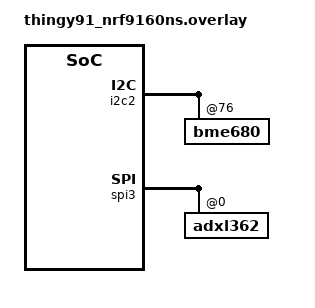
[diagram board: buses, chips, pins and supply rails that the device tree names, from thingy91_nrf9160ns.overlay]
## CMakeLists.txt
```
#
# Copyright (c) 2021 Nordic Semiconductor ASA
#
# SPDX-License-Identifier: LicenseRef-Nordic-5-Clause
#

cmake_minimum_required(VERSION 3.20.0)

find_package(Zephyr REQUIRED HINTS $ENV{ZEPHYR_BASE})
project(asset_tracker_v2)

# NORDIC SDK APP START
target_sources(app PRIVATE src/main.c)
# NORDIC SDK APP END

# Include source directory
target_include_directories(app PRIVATE src)
target_include_directories(app PRIVATE include/${BOARD}/)
zephyr_include_directories_ifdef(CONFIG_MEMFAULT configuration/memfault)

# Application directories
add_subdirectory(src/modules)
add_subdirectory(src/messages)

add_subdirectory_ifdef(CONFIG_SENSOR_MODULE src/ext_sensors)
add_subdirectory_ifdef(CONFIG_WATCHDOG_APPLICATION src/watchdog)

# Include nRF modem library header file for QEMU x86 builds.
# These are used throughout the application in type definitions.
if (CONFIG_BOARD_QEMU_X86)
        target_include_directories(app PRIVATE ${NRFXLIB_DIR}/nrf_modem/include/)

        # Make folder containing certificates global so that it can be located by the configured
        # cloud library.
        zephyr_include_directories(src/cloud-certs)
endif()
```

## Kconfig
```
#
# Copyright (c) 2021 Nordic Semiconductor ASA
#
# SPDX-License-Identifier: LicenseRef-Nordic-5-Clause
#

# Asset Tracker v2 requires UART_INTERRUPT_DRIVEN to be enabled when SERIAL is used in order to
# receive AT Commands.
config UART_INTERRUPT_DRIVEN
	default y if SERIAL

# Asset Tracker v2 requires the default logging mode as LOG_MODE_IMMEDIATE because
# a) LOG_MODE_DEFERRED does not print floating point numbers.
#	 See : https://github.com/zephyrproject-rtos/zephyr/issues/18351
# b) Using LOG2_MODE_DEFERRED results in missing logs in certain situations. Ref: NCSIDB-630
choice LOG_MODE
	default LOG_MODE_IMMEDIATE
endchoice

menu "Asset Tracker v2"

config ASSET_TRACKER_V2_APP_VERSION
	string "Asset Tracker application firmware version"
	default "0.0.0-development"

config ASSET_TRACKER_V2_APP_VERSION_MAX_LEN
	int "Maximum length of the application firmware version"
	default 150

rsource "src/modules/Kconfig"
rsource "src/watchdog/Kconfig"

endmenu

menu "Zephyr Kernel"
source "Kconfig.zephyr"
endmenu

module = APPLICATION_MODULE
module-str = Application module
source "subsys/logging/Kconfig.template.log_config"
```

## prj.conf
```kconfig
#
# Copyright (c) 2021 Nordic Semiconductor ASA
#
# SPDX-License-Identifier: LicenseRef-Nordic-5-Clause
#

# General config
CONFIG_PICOLIBC=y
CONFIG_ASSERT=y
CONFIG_REBOOT=y
CONFIG_FPU=y

# Heap and stacks
CONFIG_HEAP_MEM_POOL_SIZE=47250
CONFIG_MAIN_STACK_SIZE=2048
CONFIG_SYSTEM_WORKQUEUE_STACK_SIZE=4096
CONFIG_HW_STACK_PROTECTION=y
# Increase AT monitor heap size to be able to fit both neighbor cell measurement
# and other AT notifications that may come in rapid succession.
CONFIG_AT_MONITOR_HEAP_SIZE=1024

# Logging
CONFIG_LOG=y
CONFIG_LOG_MODE_DEFERRED=y

# nRF modem library
CONFIG_NRF_MODEM_LIB=y
CONFIG_NRF_MODEM_LIB_ON_FAULT_APPLICATION_SPECIFIC=y

# AT Host library - Used to send AT commands directy from an UART terminal and to allow
#		    integration with nRF Connect for Desktop LTE Link monitor application.
CONFIG_AT_HOST_LIBRARY=y

# Network
CONFIG_NETWORKING=y
CONFIG_NET_NATIVE=n
CONFIG_NET_SOCKETS=y
CONFIG_NET_SOCKETS_OFFLOAD=y
CONFIG_NET_IPV6=y
CONFIG_NET_IPV4=y

# LTE link control
CONFIG_LTE_NETWORK_MODE_LTE_M_GPS=y
## Power saving timers.
### 320 hours PSM.
CONFIG_LTE_PSM_REQ=y
CONFIG_LTE_PSM_REQ_RPTAU="11000001"
### 20 seconds active time.
CONFIG_LTE_PSM_REQ_RAT="00001010"

# Settings - Used to store real-time device configuration to flash.
CONFIG_SETTINGS=y
CONFIG_SETTINGS_FCB=y
CONFIG_FCB=y

# FOTA
CONFIG_FOTA_DOWNLOAD=y
CONFIG_DFU_TARGET=y
CONFIG_DOWNLOAD_CLIENT=y
CONFIG_DOWNLOAD_CLIENT_HTTP_FRAG_SIZE_1024=y
CONFIG_DOWNLOAD_CLIENT_STACK_SIZE=4096
CONFIG_DOWNLOAD_CLIENT_BUF_SIZE=2300
CONFIG_DOWNLOAD_CLIENT_MAX_HOSTNAME_SIZE=128

# Flash - Used in FOTA, settings and storage for P-GPS.
CONFIG_FLASH=y
CONFIG_FLASH_PAGE_LAYOUT=y
CONFIG_FLASH_MAP=y
CONFIG_STREAM_FLASH=y
CONFIG_MPU_ALLOW_FLASH_WRITE=y

# MCUBOOT
CONFIG_BOOTLOADER_MCUBOOT=y
CONFIG_IMG_MANAGER=y
CONFIG_MCUBOOT_IMG_MANAGER=y
CONFIG_IMG_ERASE_PROGRESSIVELY=y
CONFIG_SECURE_BOOT=y
CONFIG_BUILD_S1_VARIANT=y

# Watchdog
CONFIG_WATCHDOG_APPLICATION=y

# Application Event Manager
CONFIG_APP_EVENT_MANAGER=y
CONFIG_APP_EVENT_MANAGER_LOG_EVENT_TYPE=n

# cJSON - Used in cloud data encoding.
CONFIG_CJSON_LIB=y

# CAF - Common Application Framework
CONFIG_CAF=y
CONFIG_LED=y
CONFIG_CAF_LEDS=y
CONFIG_CAF_INIT_LOG_LED_READY_EVENTS=n
CONFIG_CAF_INIT_LOG_LED_EVENTS=n
CONFIG_CAF_INIT_LOG_MODULE_STATE_EVENTS=n

# Location related configuration
CONFIG_LOCATION=y
CONFIG_LOCATION_REQUEST_DEFAULT_METHOD_FIRST_GNSS=y
CONFIG_LOCATION_REQUEST_DEFAULT_METHOD_SECOND_CELLULAR=y
CONFIG_LOCATION_REQUEST_DEFAULT_GNSS_TIMEOUT=90000
CONFIG_LOCATION_DATA_DETAILS=y
CONFIG_LOCATION_LOG_LEVEL_WRN=y

# Default cloud transport service
CONFIG_NRF_CLOUD_MQTT=y
CONFIG_HW_ID_LIBRARY=y
CONFIG_HW_ID_LIBRARY_SOURCE_IMEI=y

CONFIG_RESET_ON_FATAL_ERROR=n
CONFIG_LOG_MODE_IMMEDIATE=y
CONFIG_ETB_TRACE=y
```

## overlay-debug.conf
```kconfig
#
# Copyright (c) 2021 Nordic Semiconductor ASA
#
# SPDX-License-Identifier: LicenseRef-Nordic-5-Clause
#

# Forces a maximal log level for all modules.
# Modules saturates their specified level if it is greater than this option,
# otherwise they use the level specified by this option instead of their default
# or whatever was manually set. Levels are:
#
# 0 OFF, logging is turned off
# 1 ERROR, maximal level set to LOG_LEVEL_ERR
# 2 WARNING, maximal level set to LOG_LEVEL_WRN
# 3 INFO, maximal level set to LOG_LEVEL_INFO
# 4 DEBUG, maximal level set to LOG_LEVEL_DBG
CONFIG_LOG_MAX_LEVEL=4

# Increase log buffer size to prevent logs being dropped.
CONFIG_LOG_BUFFER_SIZE=2048

# Module debug configurations.
CONFIG_MODULE_COMMON_LOG_LEVEL_DBG=y
CONFIG_APPLICATION_MODULE_LOG_LEVEL_DBG=y
CONFIG_CLOUD_MODULE_LOG_LEVEL_DBG=y
CONFIG_DATA_MODULE_LOG_LEVEL_DBG=y
CONFIG_LOCATION_MODULE_LOG_LEVEL_DBG=y
CONFIG_MODEM_MODULE_LOG_LEVEL_DBG=y
CONFIG_SENSOR_MODULE_LOG_LEVEL_DBG=y
CONFIG_UI_MODULE_LOG_LEVEL_DBG=y
CONFIG_UTIL_MODULE_LOG_LEVEL_DBG=y
CONFIG_DEBUG_MODULE_LOG_LEVEL_DBG=y

# Cloud integration layer debug logging
CONFIG_CLOUD_INTEGRATION_LOG_LEVEL_DBG=y

# Application Watchdog debug logging
CONFIG_WATCHDOG_LOG_LEVEL_DBG=y

# Cloud codec debug logging
CONFIG_CLOUD_CODEC_LOG_LEVEL_DBG=y

# Location library
CONFIG_LOCATION_LOG_LEVEL_DBG=y

# nRF Cloud
CONFIG_NRF_CLOUD_LOG_LEVEL_DBG=y

# Date time
CONFIG_DATE_TIME_LOG_LEVEL_DBG=y

# Settings
CONFIG_SETTINGS_LOG_LEVEL_DBG=y

# Flash
CONFIG_STREAM_FLASH_LOG_LEVEL_DBG=y

# Debug module
CONFIG_DEBUG_MODULE=y

# QoS library
CONFIG_QOS_LOG_LEVEL_DBG=y

CONFIG_RESET_ON_FATAL_ERROR=n
```

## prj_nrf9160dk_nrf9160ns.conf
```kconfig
#
# Copyright (c) 2021 Nordic Semiconductor ASA
#
# SPDX-License-Identifier: LicenseRef-BSD-5-Clause-Nordic
#

# General config
CONFIG_NEWLIB_LIBC=y
CONFIG_NEWLIB_LIBC_FLOAT_PRINTF=y
CONFIG_ASSERT=y
CONFIG_REBOOT=y
CONFIG_RESET_ON_FATAL_ERROR=n

# Heap and stacks
CONFIG_HEAP_MEM_POOL_SIZE=32768
CONFIG_MAIN_STACK_SIZE=1024
CONFIG_SYSTEM_WORKQUEUE_STACK_SIZE=2048
CONFIG_HW_STACK_PROTECTION=y

# Logging
CONFIG_LOG=y
CONFIG_LOG_IMMEDIATE=y

# DK - Used for buttons and LEDs in UI module.
CONFIG_DK_LIBRARY_INVERT_LEDS=n

# BSD library
CONFIG_BSD_LIBRARY=y

# Network
CONFIG_NETWORKING=y
CONFIG_NET_NATIVE=n
CONFIG_NET_SOCKETS=y
CONFIG_NET_SOCKETS_OFFLOAD=y

# LTE link control
CONFIG_LTE_AUTO_INIT_AND_CONNECT=n
CONFIG_LTE_NETWORK_MODE_LTE_M_GPS=y
## Power saving timers.
CONFIG_LTE_PSM_REQ_RPTAU="01000011"
CONFIG_LTE_PSM_REQ_RAT="00000000"

# AWS IoT
## Mandatory application specific configurations for AWS_IOT.
CONFIG_AWS_IOT=y
CONFIG_AWS_IOT_TOPIC_UPDATE_DELTA_SUBSCRIBE=y
CONFIG_AWS_IOT_AUTO_DEVICE_SHADOW_REQUEST=y
CONFIG_AWS_IOT_MQTT_RX_TX_BUFFER_LEN=2048
CONFIG_AWS_IOT_MQTT_PAYLOAD_BUFFER_LEN=2048
CONFIG_AWS_IOT_APP_SUBSCRIPTION_LIST_COUNT=1
CONFIG_AWS_IOT_CLIENT_ID_APP=y
CONFIG_AWS_FOTA=y

## AWS IoT options that must be configured.
CONFIG_AWS_IOT_SEC_TAG=42
CONFIG_AWS_IOT_BROKER_HOST_NAME="example-hostname.aws.com"

# MQTT
# Keepalive should be set to the maximum specified MQTT keepalive timeout of the
#        selected cloud library.
#        1200 seconds for AWS IoT.
CONFIG_MQTT_KEEPALIVE=1200

# Settings - Used to store real-time device configuration to flash.
CONFIG_SETTINGS=y
CONFIG_SETTINGS_FCB=y
CONFIG_FCB=y

# FOTA - Needed by AWS IoT.
CONFIG_FOTA_DOWNLOAD=y
CONFIG_DFU_TARGET=y
CONFIG_DOWNLOAD_CLIENT=y
CONFIG_DOWNLOAD_CLIENT_HTTP_FRAG_SIZE_1024=y
CONFIG_DOWNLOAD_CLIENT_STACK_SIZE=4096
CONFIG_DOWNLOAD_CLIENT_BUF_SIZE=2300

# Flash - Used in FOTA and Settings.
CONFIG_FLASH=y
CONFIG_FLASH_PAGE_LAYOUT=y
CONFIG_FLASH_MAP=y
CONFIG_MPU_ALLOW_FLASH_WRITE=y

# MCUBOOT
CONFIG_BOOTLOADER_MCUBOOT=y
CONFIG_IMG_MANAGER=y
CONFIG_MCUBOOT_IMG_MANAGER=y
CONFIG_IMG_ERASE_PROGRESSIVELY=y

# Watchdog
CONFIG_WATCHDOG_APPLICATION=y

# AGPS
# To use AGPS, a source of assistance data must be selected. By default, SUPL
# is selected. However, due to licensing, the SUPL library must be manually
# downloaded and configured according to the instructions found in the SUPL
# client library documentation in NCS.
# CONFIG_AGPS=y
# CONFIG_AGPS_SRC_SUPL=y

# Event Manager
CONFIG_EVENT_MANAGER=y
CONFIG_LINKER_ORPHAN_SECTION_PLACE=y
CONFIG_DESKTOP_EVENT_MANAGER_LOG_EVENT_TYPE=n

# cJSON - Used in AWS FOTA and cloud data traffic encoding.
CONFIG_CJSON_LIB=y

# Ringbuffers - Used by cloud codec.
CONFIG_RING_BUFFER=y
```

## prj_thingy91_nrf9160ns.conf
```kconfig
#
# Copyright (c) 2021 Nordic Semiconductor ASA
#
# SPDX-License-Identifier: LicenseRef-BSD-5-Clause-Nordic
#

# General config
CONFIG_NEWLIB_LIBC=y
CONFIG_NEWLIB_LIBC_FLOAT_PRINTF=y
CONFIG_ASSERT=y
CONFIG_REBOOT=y
CONFIG_RESET_ON_FATAL_ERROR=n

# Heap and stacks
CONFIG_HEAP_MEM_POOL_SIZE=32768
CONFIG_MAIN_STACK_SIZE=1024
CONFIG_SYSTEM_WORKQUEUE_STACK_SIZE=2048
CONFIG_HW_STACK_PROTECTION=y

# Logging
CONFIG_LOG=y
CONFIG_LOG_IMMEDIATE=y

# DK - Used for buttons and LEDs in UI module.
CONFIG_DK_LIBRARY_INVERT_LEDS=n

# BSD library
CONFIG_BSD_LIBRARY=y

# Network
CONFIG_NETWORKING=y
CONFIG_NET_NATIVE=n
CONFIG_NET_SOCKETS=y
CONFIG_NET_SOCKETS_OFFLOAD=y

# LTE link control
CONFIG_LTE_AUTO_INIT_AND_CONNECT=n
CONFIG_LTE_NETWORK_MODE_LTE_M_GPS=y
## Power saving timers.
CONFIG_LTE_PSM_REQ_RPTAU="01000011"
CONFIG_LTE_PSM_REQ_RAT="00000000"

# AWS IoT
## Mandatory application specific configurations for AWS_IOT.
CONFIG_AWS_IOT=y
CONFIG_AWS_IOT_TOPIC_UPDATE_DELTA_SUBSCRIBE=y
CONFIG_AWS_IOT_AUTO_DEVICE_SHADOW_REQUEST=y
CONFIG_AWS_IOT_MQTT_RX_TX_BUFFER_LEN=2048
CONFIG_AWS_IOT_MQTT_PAYLOAD_BUFFER_LEN=2048
CONFIG_AWS_IOT_APP_SUBSCRIPTION_LIST_COUNT=1
CONFIG_AWS_IOT_CLIENT_ID_APP=y
CONFIG_AWS_FOTA=y

## AWS IoT options that must be configured.
CONFIG_AWS_IOT_SEC_TAG=42
CONFIG_AWS_IOT_BROKER_HOST_NAME="example-hostname.aws.com"

# MQTT
# Keepalive should be set to the maximum specified MQTT keepalive timeout of the
#        selected cloud library.
#        1200 seconds for AWS IoT.
CONFIG_MQTT_KEEPALIVE=1200

# Settings - Used to store real-time device configuration to flash.
CONFIG_SETTINGS=y
CONFIG_SETTINGS_FCB=y
CONFIG_FCB=y

# FOTA - Needed by AWS IoT.
CONFIG_FOTA_DOWNLOAD=y
CONFIG_DFU_TARGET=y
CONFIG_DOWNLOAD_CLIENT=y
CONFIG_DOWNLOAD_CLIENT_HTTP_FRAG_SIZE_1024=y
CONFIG_DOWNLOAD_CLIENT_STACK_SIZE=4096
CONFIG_DOWNLOAD_CLIENT_BUF_SIZE=2300

# Flash - Used in FOTA and Settings.
CONFIG_FLASH=y
CONFIG_FLASH_PAGE_LAYOUT=y
CONFIG_FLASH_MAP=y
CONFIG_MPU_ALLOW_FLASH_WRITE=y

# MCUBOOT
CONFIG_BOOTLOADER_MCUBOOT=y
CONFIG_IMG_MANAGER=y
CONFIG_MCUBOOT_IMG_MANAGER=y
CONFIG_IMG_ERASE_PROGRESSIVELY=y

# Watchdog
CONFIG_WATCHDOG_APPLICATION=y

# AGPS
# To use AGPS, a source of assistance data must be selected. By default, SUPL
# is selected. However, due to licensing, the SUPL library must be manually
# downloaded and configured according to the instructions found in the SUPL
# client library documentation in NCS.
# CONFIG_AGPS=y
# CONFIG_AGPS_SRC_SUPL=y

# Event Manager
CONFIG_EVENT_MANAGER=y
CONFIG_LINKER_ORPHAN_SECTION_PLACE=y
CONFIG_DESKTOP_EVENT_MANAGER_LOG_EVENT_TYPE=n

# cJSON - Used in AWS FOTA and cloud data traffic encoding.
CONFIG_CJSON_LIB=y

# Ringbuffers - Used by cloud codec.
CONFIG_RING_BUFFER=y

# Thingy91 - Configuration related to external sensors.
CONFIG_SENSOR=y
CONFIG_SPI=y

# ADXL362 - Accelerometer
CONFIG_ADXL362=y
CONFIG_ADXL362_TRIGGER_GLOBAL_THREAD=y
CONFIG_ADXL362_INTERRUPT_MODE=1
CONFIG_ADXL362_ABS_REF_MODE=1
CONFIG_ADXL362_ACCEL_RANGE_2G=y
CONFIG_ADXL362_ACCEL_ODR_12_5=y

# BME680 - Temperature and humidity sensor.
CONFIG_BME680=y
```

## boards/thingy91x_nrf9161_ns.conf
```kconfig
#
# Copyright (c) 2023 Nordic Semiconductor ASA
#
# SPDX-License-Identifier: LicenseRef-Nordic-5-Clause
#

# Configuration file for Thingy:91 X.
# This file is merged with prj.conf in the application folder, and options
# set here will take precedence if they are present in both files.

# Configuration related to external sensors.
CONFIG_EXTERNAL_SENSORS=y
CONFIG_SENSOR=y
CONFIG_SPI=y

# BME680 - Temperature and humidity sensor.
CONFIG_BME680=y

# CAF - Common Application Framework
CONFIG_PWM=y
CONFIG_LED_GPIO=y

CONFIG_PM_PARTITION_REGION_SETTINGS_STORAGE_EXTERNAL=y
```

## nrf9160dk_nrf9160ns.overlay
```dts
&spi3 {
	status = "okay";
	sck-pin = <10>;
	mosi-pin = <11>;
	miso-pin = <12>;
	cs-gpios = <&gpio0 30 0>, <&gpio0 7 0>;

	adxl362@0 {
		compatible = "adi,adxl362";
		label = "ADXL362";
		spi-max-frequency = <8000000>;
		reg = <0>;
		int1-gpios = <&gpio0 31 0>;
	};
};
```

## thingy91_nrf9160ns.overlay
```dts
/*
 * Copyright (c) 2021 Nordic Semiconductor ASA
 *
 * SPDX-License-Identifier: LicenseRef-Nordic-5-Clause
 */

/ {
        aliases {
                temp-sensor = &bme680;
                humidity-sensor = &bme680;
                accelerometer = &adxl362;
        };
};

&i2c2 {
	bme680: bme680@76 {};
};

&spi3 {
       adxl362: adxl362@0 {};
};
```

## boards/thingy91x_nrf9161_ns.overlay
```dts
/*
 * Copyright (c) 2023 Nordic Semiconductor ASA
 *
 * SPDX-License-Identifier: LicenseRef-Nordic-5-Clause
 */

/ {
	aliases {
		temp-sensor = &bme680;
		humidity-sensor = &bme680;
		pressure-sensor = &bme680;
	};
};

&i2c2 {
	bme680: bme680@76 {};
};
```

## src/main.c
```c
/*
 * Copyright (c) 2021 Nordic Semiconductor ASA
 *
 * SPDX-License-Identifier: LicenseRef-Nordic-5-Clause
 */

#include <zephyr/kernel.h>
#include <stdio.h>
#include <string.h>
#include <stdlib.h>

#if defined(CONFIG_NRF_MODEM_LIB)
#include <modem/nrf_modem_lib.h>
#endif /* CONFIG_NRF_MODEM_LIB */
#include <zephyr/sys/reboot.h>
#if defined(CONFIG_LWM2M_INTEGRATION)
#include <net/lwm2m_client_utils.h>
#endif /* CONFIG_LWM2M_INTEGRATION */
#include <net/nrf_cloud.h>

#if defined(CONFIG_NRF_CLOUD_AGPS) || defined(CONFIG_NRF_CLOUD_PGPS)
#include <net/nrf_cloud_agps.h>
#endif

#include "modules/module_common.h"

#include <zephyr/logging/log.h>
#include <zephyr/logging/log_ctrl.h>

LOG_MODULE_REGISTER(MODULE, CONFIG_APPLICATION_MODULE_LOG_LEVEL);

/* Application module super states. */
static enum state_type {
	STATE_INIT,
	STATE_RUNNING,
	STATE_SHUTDOWN
} state;

/* Application sub states. The application can be in either active or passive
 * mode.
 *
 * Active mode: Sensor data and GNSS position is acquired at a configured
 *		interval and sent to cloud.
 *
 * Passive mode: Sensor data and GNSS position is acquired when movement is
 *		 detected, or after the configured movement timeout occurs.
 */
static enum sub_state_type {
	SUB_STATE_ACTIVE_MODE,
	SUB_STATE_PASSIVE_MODE,
} sub_state;

/* Internal copy of the device configuration. */
static struct cloud_data_cfg app_cfg;

/* Variable that keeps track whether modem static data has been successfully sampled by the
 * modem module. Modem static data does not change and only needs to be sampled and sent to cloud
 * once.
 */
static bool modem_static_sampled;

/* Variable that is set high whenever a sample request is ongoing. */
static bool sample_request_ongoing;

/* Variable that is set high whenever the device is considered active (under movement). */
static bool activity;

/* Timer callback used to signal when timeout has occurred both in active
 * and passive mode.
 */
static void data_sample_timer_handler(struct k_timer *timer);

/* Application module message queue. */
#define APP_QUEUE_ENTRY_COUNT		10
#define APP_QUEUE_BYTE_ALIGNMENT	4

/* Data fetching timeouts */
#define DATA_FETCH_TIMEOUT_DEFAULT 2


K_MSGQ_DEFINE(msgq_app, sizeof(struct module_msg), APP_QUEUE_ENTRY_COUNT,
	      APP_QUEUE_BYTE_ALIGNMENT);

/* Data sample timer used in active mode. */
K_TIMER_DEFINE(data_sample_timer, data_sample_timer_handler, NULL);

/* Movement timer used to detect movement timeouts in passive mode. */
K_TIMER_DEFINE(movement_timeout_timer, data_sample_timer_handler, NULL);

/* Movement resolution timer decides the period after movement that consecutive
 * movements are ignored and do not cause data collection. This is used to
 * lower power consumption by limiting how often GNSS search is performed and
 * data is sent on air.
 */
K_TIMER_DEFINE(movement_resolution_timer, NULL, NULL);

/* Module data structure to hold information of the application module, which
 * opens up for using convenience functions available for modules.
 */
static struct module_data self = {
	.name = "app",
	.msg_q = &msgq_app,
	.supports_shutdown = true,
};
/* Workaround to let other modules know about this module without changing code here. */
struct module_data *app_module = &self;

/* Zbus listeners for all relevant channels */
CHANNEL_LISTENER_TO_QUEUE(CLOUD_MSG_CHAN, cloud_listener);
CHANNEL_LISTENER_TO_QUEUE(DATA_MSG_CHAN, data_listener);
CHANNEL_LISTENER_TO_QUEUE(MODEM_MSG_CHAN, modem_listener);
CHANNEL_LISTENER_TO_QUEUE(SENSOR_MSG_CHAN, sensor_listener);
CHANNEL_LISTENER_TO_QUEUE(UTIL_MSG_CHAN, util_listener);


#if defined(CONFIG_NRF_MODEM_LIB)
NRF_MODEM_LIB_ON_INIT(asset_tracker_init_hook, on_modem_lib_init, NULL);

/* Initialized to value different than success (0) */
static int modem_lib_init_result = -1;

static void on_modem_lib_init(int ret, void *ctx)
{
	modem_lib_init_result = ret;
}
#endif /* CONFIG_NRF_MODEM_LIB */

/* Convenience functions used in internal state handling. */
static char *state2str(enum state_type new_state)
{
	switch (new_state) {
	case STATE_INIT:
		return "STATE_INIT";
	case STATE_RUNNING:
		return "STATE_RUNNING";
	case STATE_SHUTDOWN:
		return "STATE_SHUTDOWN";
	default:
		return "Unknown";
	}
}

static char *sub_state2str(enum sub_state_type new_state)
{
	switch (new_state) {
	case SUB_STATE_ACTIVE_MODE:
		return "SUB_STATE_ACTIVE_MODE";
	case SUB_STATE_PASSIVE_MODE:
		return "SUB_STATE_PASSIVE_MODE";
	default:
		return "Unknown";
	}
}

static void state_set(enum state_type new_state)
{
	if (new_state == state) {
		LOG_DBG("State: %s", state2str(state));
		return;
	}

	LOG_DBG("State transition %s --> %s",
		state2str(state),
		state2str(new_state));

	state = new_state;
}

static void sub_state_set(enum sub_state_type new_state)
{
	if (new_state == sub_state) {
		LOG_DBG("Sub state: %s", sub_state2str(sub_state));
		return;
	}

	LOG_DBG("Sub state transition %s --> %s",
		sub_state2str(sub_state),
		sub_state2str(new_state));

	sub_state = new_state;
}

/* Check the return code from nRF modem library initialization to ensure that
 * the modem is rebooted if a modem firmware update is ready to be applied or
 * an error condition occurred during firmware update or library initialization.
 */
static void handle_nrf_modem_lib_init_ret(void)
{
#if defined(CONFIG_NRF_MODEM_LIB)
	int ret = modem_lib_init_result;

	/* Handle return values relating to modem firmware update */
	switch (ret) {
	case 0:
		/* Initialization successful, no action required. */
		return;
	case MODEM_DFU_RESULT_OK:
		LOG_DBG("MODEM UPDATE OK. Will run new modem firmware after reboot");
		break;
	case MODEM_DFU_RESULT_UUID_ERROR:
	case MODEM_DFU_RESULT_AUTH_ERROR:
		LOG_ERR("MODEM UPDATE ERROR %d. Will run old firmware", ret);
		break;
	case MODEM_DFU_RESULT_HARDWARE_ERROR:
	case MODEM_DFU_RESULT_INTERNAL_ERROR:
		LOG_ERR("MODEM UPDATE FATAL ERROR %d. Modem failure", ret);
		break;
	default:
		/* All non-zero return codes other than DFU result codes are
		 * considered irrecoverable and a reboot is needed.
		 */
		LOG_ERR("nRF modem lib initialization failed, error: %d", ret);
		break;
	}

#if defined(CONFIG_NRF_CLOUD_FOTA)
	/* Ignore return value, rebooting below */
	(void)nrf_cloud_fota_pending_job_validate(NULL);
#elif defined(CONFIG_LWM2M_INTEGRATION)
	lwm2m_verify_modem_fw_update();
#endif
	LOG_DBG("Rebooting...");
	LOG_PANIC();
	sys_reboot(SYS_REBOOT_COLD);
#endif /* CONFIG_NRF_MODEM_LIB */
}

static void data_sample_timer_handler(struct k_timer *timer)
{
	ARG_UNUSED(timer);

	/* Cancel if a previous sample request has not completed or the device is not under
	 * activity in passive mode.
	 */
	if (sample_request_ongoing || ((sub_state == SUB_STATE_PASSIVE_MODE) && !activity)) {
		return;
	}

	SEND_MSG_ALL(APP_MSG_DATA_GET_ALL);
}

/* Static module functions. */
static void passive_mode_timers_start_all(void)
{
	LOG_DBG("Device mode: Passive");
	LOG_DBG("Start movement timeout: %d seconds interval", app_cfg.movement_timeout);

	LOG_DBG("%d seconds until movement can trigger a new data sample/publication",
		app_cfg.movement_resolution);

	k_timer_start(&data_sample_timer,
		      K_SECONDS(app_cfg.movement_resolution),
		      K_SECONDS(app_cfg.movement_resolution));

	k_timer_start(&movement_resolution_timer,
		      K_SECONDS(app_cfg.movement_resolution),
		      K_SECONDS(0));

	k_timer_start(&movement_timeout_timer,
		      K_SECONDS(app_cfg.movement_timeout),
		      K_SECONDS(app_cfg.movement_timeout));
}

static void active_mode_timers_start_all(void)
{
	LOG_DBG("Device mode: Active");
	LOG_DBG("Start data sample timer: %d seconds interval", app_cfg.active_wait_timeout);

	k_timer_start(&data_sample_timer,
		      K_SECONDS(app_cfg.active_wait_timeout),
		      K_SECONDS(app_cfg.active_wait_timeout));

	k_timer_stop(&movement_resolution_timer);
	k_timer_stop(&movement_timeout_timer);
}

static void activity_event_handle(enum module_msg_type msg_type)
{
	__ASSERT(((msg_type == SENSOR_MSG_MOVEMENT_ACTIVITY_DETECTED) ||
		  (msg_type == SENSOR_MSG_MOVEMENT_INACTIVITY_DETECTED)),
		  "Unknown event");

	activity = (msg_type == SENSOR_MSG_MOVEMENT_ACTIVITY_DETECTED) ? true : false;

	if (sample_request_ongoing) {
		LOG_DBG("Sample request ongoing, abort request.");
		return;
	}

	if ((msg_type == SENSOR_MSG_MOVEMENT_ACTIVITY_DETECTED) &&
	    (k_timer_remaining_get(&movement_resolution_timer) != 0)) {
		LOG_DBG("Movement resolution timer has not expired, abort request.");
		return;
	}

	SEND_MSG_ALL(APP_MSG_DATA_GET_ALL);
	passive_mode_timers_start_all();
}

static void data_get(void)
{
	int err;
	size_t count = 0;
	struct module_msg msg = {
		.type = APP_MSG_DATA_GET,
	};

	/* Set a low sample timeout. If location is requested, the sample timeout
	 * will be increased to accommodate the location request.
	 */
	msg.app.timeout = DATA_FETCH_TIMEOUT_DEFAULT;

	/* Specify which data that is to be included in the transmission. */
	msg.app.data_list[count++] = APP_DATA_MODEM_DYNAMIC;
	msg.app.data_list[count++] = APP_DATA_BATTERY;
	msg.app.data_list[count++] = APP_DATA_ENVIRONMENTAL;

	if (!modem_static_sampled) {
		msg.app.data_list[count++] = APP_DATA_MODEM_STATIC;
	}

	if (!app_cfg.no_data.neighbor_cell || !app_cfg.no_data.gnss) {
		msg.app.data_list[count++] = APP_DATA_LOCATION;

		/* Set application module timeout when location sampling is requested.
		 * This is selected to be long enough so that most of the GNSS would
		 * have enough time to run to get a fix. We also want it to be smaller than
		 * the sampling interval (120s). So, 110s was selected but we take
		 * minimum of sampling interval minus 5 (just some selected number) and 110.
		 * And mode (active or passive) is taken into account.
		 * If the timeout would become smaller than 5s, we want to ensure some time for
		 * the modules so the minimum value for application module timeout is 5s.
		 */
		msg.app.timeout = (app_cfg.active_mode) ?
			MIN(app_cfg.active_wait_timeout - 5, 110) :
			MIN(app_cfg.movement_resolution - 5, 110);
		msg.app.timeout = MAX(msg.app.timeout, 5);
	}

	/* Set list count to number of data types passed in app_module_event. */
	msg.app.count = count;

	err = module_send_msg_all(&msg);
	if (err) {
		LOG_ERR("Failed to send module_msg_GET, error: %d", err);
	}
}

/* Message handler for STATE_INIT. */
static void on_state_init(const struct module_msg *msg)
{
	if (IS_MSG(msg, DATA_MSG_CONFIG_INIT)) {
		/* Keep a copy of the new configuration. */
		app_cfg = msg->data.cfg;

		if (app_cfg.active_mode) {
			active_mode_timers_start_all();
		} else {
			passive_mode_timers_start_all();
		}

		state_set(STATE_RUNNING);
		sub_state_set(app_cfg.active_mode ? SUB_STATE_ACTIVE_MODE :
						    SUB_STATE_PASSIVE_MODE);
	}
}

/* Message handler for STATE_RUNNING. */
static void on_state_running(const struct module_msg *msg)
{
	if (IS_MSG(msg, CLOUD_MSG_CONNECTED)) {
		data_get();
	}

	if (IS_MSG(msg, APP_MSG_DATA_GET_ALL)) {
		data_get();
	}
}

/* Message handler for SUB_STATE_PASSIVE_MODE. */
void on_sub_state_passive(const struct module_msg *msg)
{
	if (IS_MSG(msg, DATA_MSG_CONFIG_READY)) {
		/* Keep a copy of the new configuration. */
		app_cfg = msg->data.cfg;

		if (app_cfg.active_mode) {
			active_mode_timers_start_all();
			sub_state_set(SUB_STATE_ACTIVE_MODE);
			return;
		}

		passive_mode_timers_start_all();
	}

	if ((IS_MSG(msg, SENSOR_MSG_MOVEMENT_ACTIVITY_DETECTED)) ||
	    (IS_MSG(msg, SENSOR_MSG_MOVEMENT_INACTIVITY_DETECTED))) {
		activity_event_handle(msg->type);
	}
}

/* Message handler for SUB_STATE_ACTIVE_MODE. */
static void on_sub_state_active(const struct module_msg *msg)
{
	if (IS_MSG(msg, DATA_MSG_CONFIG_READY)) {
		/* Keep a copy of the new configuration. */
		app_cfg = msg->data.cfg;

		if (!app_cfg.active_mode) {
			passive_mode_timers_start_all();
			sub_state_set(SUB_STATE_PASSIVE_MODE);
			return;
		}

		active_mode_timers_start_all();
	}
}

/* Message handler for all states. */
static void on_all_events(const struct module_msg *msg)
{
	if (IS_MSG(msg, UTIL_MSG_SHUTDOWN_REQUEST)) {
		k_timer_stop(&data_sample_timer);
		k_timer_stop(&movement_timeout_timer);
		k_timer_stop(&movement_resolution_timer);

		SEND_SHUTDOWN_ACK(APP_MSG_SHUTDOWN_READY, self.id);
		state_set(STATE_SHUTDOWN);
	}

	if (IS_MSG(msg, MODEM_MSG_MODEM_STATIC_DATA_READY)) {
		LOG_ERR("yay");
		modem_static_sampled = true;
	}

	if (IS_MSG(msg, APP_MSG_DATA_GET)) {
		sample_request_ongoing = true;
	}

	if (IS_MSG(msg, DATA_MSG_DATA_READY)) {
		sample_request_ongoing = false;
	}

	if (IS_MSG(msg, SENSOR_MSG_MOVEMENT_IMPACT_DETECTED)) {
		SEND_MSG_ALL(APP_MSG_DATA_GET_ALL);
	}
}

void main(void)
{
	int err;
	struct module_msg msg;

	if (!IS_ENABLED(CONFIG_LWM2M_CARRIER)) {
		handle_nrf_modem_lib_init_ret();
	}

	self.thread_id = k_current_get();

	err = module_start(&self);
	if (err) {
		LOG_ERR("Failed starting module, error: %d", err);
		SEND_ERROR(APP_MSG_ERROR, err);
	}

	__ASSERT_NO_MSG(zbus_chan_add_obs(&CLOUD_MSG_CHAN, &cloud_listener, K_SECONDS(1)) == 0);
	__ASSERT_NO_MSG(zbus_chan_add_obs(&DATA_MSG_CHAN, &data_listener, K_SECONDS(1)) == 0);
	__ASSERT_NO_MSG(zbus_chan_add_obs(&MODEM_MSG_CHAN, &modem_listener, K_SECONDS(1)) == 0);
	__ASSERT_NO_MSG(zbus_chan_add_obs(&SENSOR_MSG_CHAN, &sensor_listener, K_SECONDS(1)) == 0);
	__ASSERT_NO_MSG(zbus_chan_add_obs(&UTIL_MSG_CHAN, &util_listener, K_SECONDS(1)) == 0);

	k_sleep(K_SECONDS(5));

	SEND_MSG_ALL(APP_MSG_START);

	while (true) {
		module_get_next_msg(&self, &msg);

		switch (state) {
		case STATE_INIT:
			on_state_init(&msg);
			break;
		case STATE_RUNNING:
			switch (sub_state) {
			case SUB_STATE_ACTIVE_MODE:
				on_sub_state_active(&msg);
				break;
			case SUB_STATE_PASSIVE_MODE:
				on_sub_state_passive(&msg);
				break;
			default:
				LOG_ERR("Unknown sub state");
				break;
			}

			on_state_running(&msg);
			break;
		case STATE_SHUTDOWN:
			/* The shutdown state has no transition. */
			break;
		default:
			LOG_ERR("Unknown state");
			break;
		}

		on_all_events(&msg);
	}
}
```
